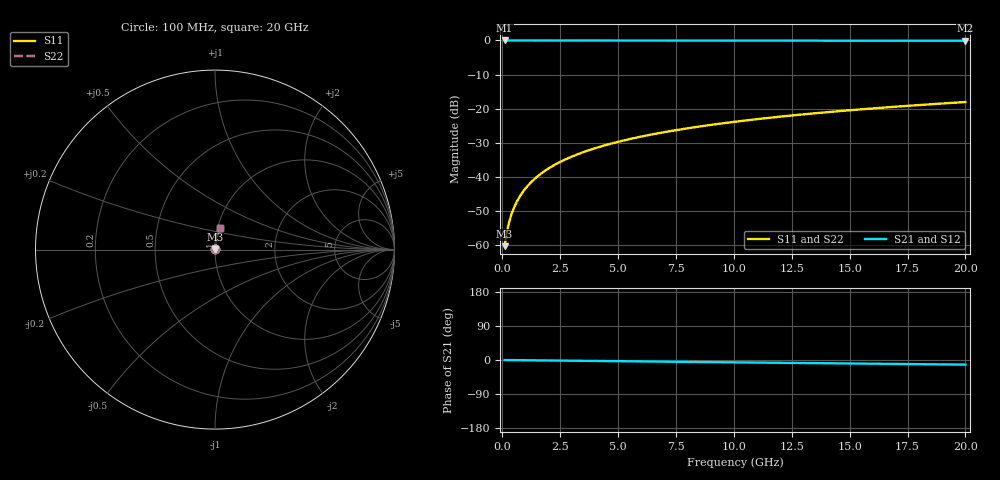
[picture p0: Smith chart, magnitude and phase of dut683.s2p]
! Touchstone file exported from HFSS 2026.1.0
!  File:  C:/ffzhzh/LocalFiles/Ansys_Project_Files/temp_train_TMRDL_683_1783010135_55676.aedt
!  Generated:  12:37:05 AM Jul  3, 2026
!  Design:  TMRDL
!  Project:  temp_train_TMRDL_683_1783010135_55676
! Variables:
!  h_bsmrdl = 2um
!  h_ox = 20um
!  h_rdl = 5um
!  h_sub = 80um
!  h_tmrdl = 5.36um
!  h_tsv = 80um
!  h_via = 3um
!  l_bsmrdl = 300um
!  l_sub = 545.91um
!  l_tmrdl = 145.91um
!  m_sub = 200um
!  pitch = 44.58um
!  r_tsv = 6um
!  s_tmrdl = 10um
!  w_bsmrdl = 18um
!  w_sub = 500um
!  w_tmrdl = 18.47um
!  x_tsv_center1 = 155.145um
!  x_tsv_center2 = 473.145um
!  x_tsv_center3 = 637.525um
!  x_tsv_center4 = 955.525um
!  x_tsv_center5 = 1119.905um
!  x_tsv_center6 = 1437.905um
# GHz S MA R 50.000000
! Terminal data exported
! Port[1] = TM_RDL1_1_T1
! Port[2] = TM_RDL1_1_T2
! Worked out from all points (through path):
!   200 points, 100 MHz to 20 GHz, reference 50 ohm
!   highest |S21| = -0.01 dB at 100 MHz (marker M1); lowest = -0.1 dB at 20 GHz (marker M2)
!   group delay of S21, straight-line fit = 1.69 ps
!   lowest |S11| = -60.3 dB at 100 MHz (marker M3), VSWR 1.00, Z = 50.1 + j0.0714 ohm
!   |S11| at or under -10 dB: start of sweep to end of sweep
!   |S22| runs from -60.3 to -18.1 dB; largest |S21 - S12| = 2.2e-15
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0.1  0.0009681 47.4  0.9993 -0.1  0.9993 -0.1  0.0009681 47.4
! Gamma 0 0 0 0
! Port Impedance 50 0 50 0
0.2  0.001569 64.0  0.9993 -0.1  0.9993 -0.1  0.001569 64.0
0.3  0.002212 70.8  0.9993 -0.2  0.9993 -0.2  0.002212 70.8
0.4  0.002861 74.5  0.9992 -0.3  0.9992 -0.3  0.002861 74.5
0.5  0.00351 76.9  0.9992 -0.3  0.9992 -0.3  0.00351 76.9
0.7  0.004811 79.8  0.9992 -0.4  0.9992 -0.4  0.004811 79.8
0.8  0.005464 80.8  0.9991 -0.5  0.9991 -0.5  0.005464 80.8
1  0.006773 82.1  0.9991 -0.6  0.9991 -0.6  0.006773 82.1
1.2  0.008085 82.9  0.9991 -0.8  0.9991 -0.8  0.008085 82.9
1.4  0.009399 83.5  0.999 -0.9  0.999 -0.9  0.009399 83.5
1.7  0.01137 84.1  0.999 -1.1  0.999 -1.1  0.01137 84.1
2  0.01334 84.4  0.9989 -1.3  0.9989 -1.3  0.01334 84.4
2.7  0.01791 84.6  0.9987 -1.7  0.9987 -1.7  0.01791 84.6
3.5  0.0231 84.5  0.9984 -2.2  0.9984 -2.2  0.0231 84.5
4.2  0.0276 84.3  0.9981 -2.6  0.9981 -2.6  0.0276 84.3
5  0.03271 84.0  0.9978 -3.1  0.9978 -3.1  0.03271 84.0
6.8  0.04409 83.2  0.997 -4.2  0.997 -4.2  0.04409 83.2
8.3  0.05349 82.5  0.9963 -5.1  0.9963 -5.1  0.05349 82.5
10.1  0.06471 81.6  0.9954 -6.2  0.9954 -6.2  0.06471 81.6
13.4  0.0851 79.8  0.9935 -8.2  0.9935 -8.2  0.0851 79.8
16.7  0.1053 78.0  0.9913 -10.2  0.9913 -10.2  0.1053 78.0
20  0.1252 76.2  0.9886 -12.2  0.9886 -12.2  0.1252 76.2
